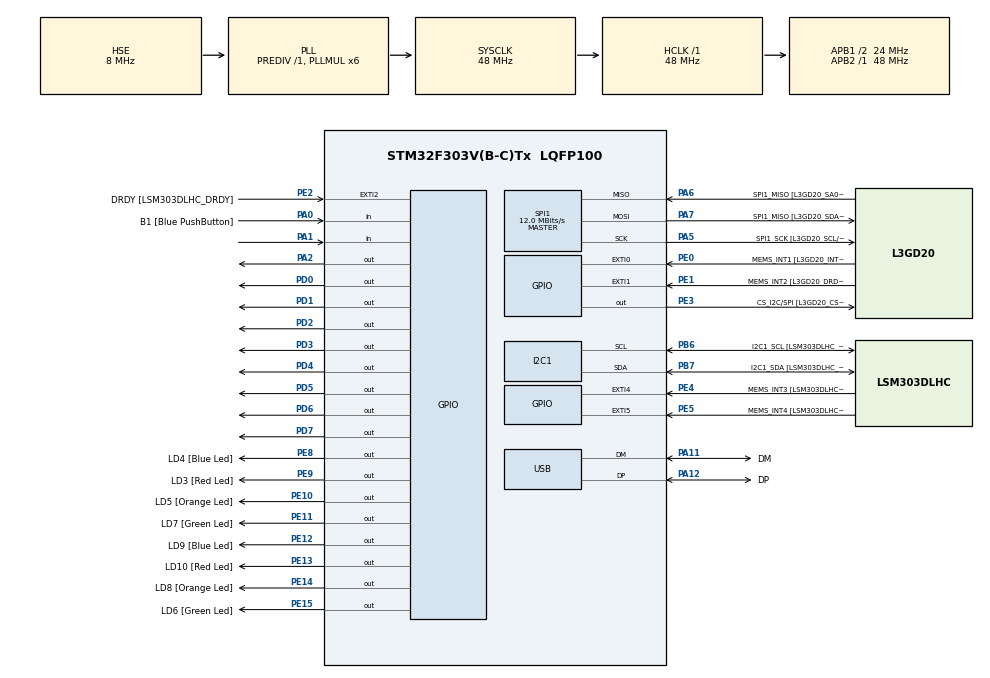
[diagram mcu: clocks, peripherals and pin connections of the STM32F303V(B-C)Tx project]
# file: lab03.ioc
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I2C1.Timing=0x2000090E
I2C1.Timing-I2C=0x2000090E
Mcu.Family=STM32F3
Mcu.Name=STM32F303V(B-C)Tx
Mcu.Package=LQFP100
NVIC.PriorityGroup=NVIC_PRIORITYGROUP_0
PA0.GPIO_Label=B1 [Blue PushButton]
PA0.Signal=GPIO_Input
PA1.GPIO_PuPd=GPIO_PULLDOWN
PA1.Signal=GPIO_Input
PA11.GPIO_Label=DM
PA11.Mode=Device
PA11.Signal=USB_DM
PA12.GPIO_Label=DP
PA12.Mode=Device
PA12.Signal=USB_DP
PA13.GPIO_Label=SWDIO
PA13.Mode=Serial_Wire
PA13.Signal=SYS_JTMS-SWDIO
PA14.GPIO_Label=SWCLK
PA14.Mode=Serial_Wire
PA14.Signal=SYS_JTCK-SWCLK
PA2.Signal=GPIO_Output
PA5.GPIO_Label=SPI1_SCK [L3GD20_SCL/SPC]
PA5.Mode=Full_Duplex_Master
PA5.Signal=SPI1_SCK
PA6.GPIO_Label=SPI1_MISO [L3GD20_SA0/SDO]
PA6.Mode=Full_Duplex_Master
PA6.Signal=SPI1_MISO
PA7.GPIO_Label=SPI1_MISO [L3GD20_SDA/SDI/SDO]
PA7.Mode=Full_Duplex_Master
PA7.Signal=SPI1_MOSI
PB3.GPIO_Label=SWO
PB3.Signal=SYS_JTDO-TRACESWO
PB6.GPIO_Label=I2C1_SCL [LSM303DLHC_SCL]
PB6.GPIO_Pu=GPIO_PULLUP
PB6.Mode=I2C
PB6.Signal=I2C1_SCL
PB7.GPIO_Label=I2C1_SDA [LSM303DLHC_SDA]
PB7.GPIO_Pu=GPIO_PULLUP
PB7.Mode=I2C
PB7.Signal=I2C1_SDA
PC14-OSC32_IN.GPIO_Label=OSC32_IN
PC14-OSC32_IN.Signal=RCC_OSC32_IN
PC15-OSC32_OUT.GPIO_Label=OSC32_OUT
PC15-OSC32_OUT.Signal=RCC_OSC32_OUT
PD0.Signal=GPIO_Output
PD1.Signal=GPIO_Output
PD2.Signal=GPIO_Output
PD3.Signal=GPIO_Output
PD4.Signal=GPIO_Output
PD5.Signal=GPIO_Output
PD6.Signal=GPIO_Output
PD7.Signal=GPIO_Output
PE0.GPIO_Label=MEMS_INT1 [L3GD20_INT1]
PE0.GPIO_ModeDefaultEXTI=GPIO_MODE_EVT_RISING
PE0.Signal=GPXTI0
PE1.GPIO_Label=MEMS_INT2 [L3GD20_DRDY/INT2]
PE1.GPIO_ModeDefaultEXTI=GPIO_MODE_EVT_RISING
PE1.Signal=GPXTI1
PE10.GPIO_Label=LD5 [Orange Led]
PE10.Signal=GPIO_Output
PE11.GPIO_Label=LD7 [Green Led]
PE11.Signal=GPIO_Output
PE12.GPIO_Label=LD9 [Blue Led]
PE12.Signal=GPIO_Output
PE13.GPIO_Label=LD10 [Red Led]
PE13.Signal=GPIO_Output
PE14.GPIO_Label=LD8 [Orange Led]
PE14.Signal=GPIO_Output
PE15.GPIO_Label=LD6 [Green Led]
PE15.Signal=GPIO_Output
PE2.GPIO_Label=DRDY [LSM303DLHC_DRDY]
PE2.GPIO_ModeDefaultEXTI=GPIO_MODE_EVT_RISING
PE2.Signal=GPXTI2
PE3.GPIO_Label=CS_I2C/SPI [L3GD20_CS_I2C/SPI]
PE3.Signal=GPIO_Output
PE4.GPIO_Label=MEMS_INT3 [LSM303DLHC_INT1]
PE4.GPIO_ModeDefaultEXTI=GPIO_MODE_EVT_RISING
PE4.Signal=GPXTI4
PE5.GPIO_Label=MEMS_INT4 [LSM303DLHC_INT2]
PE5.GPIO_ModeDefaultEXTI=GPIO_MODE_EVT_RISING
PE5.Signal=GPXTI5
PE8.GPIO_Label=LD4 [Blue Led]
PE8.Signal=GPIO_Output
PE9.GPIO_Label=LD3 [Red Led]
PE9.Signal=GPIO_Output
PF0-OSC_IN.GPIO_Label=OSC_IN
PF0-OSC_IN.Mode=HSE-External-Clock-Source
PF0-OSC_IN.Signal=RCC_OSC_IN
PF1-OSC_OUT.GPIO_Label=OSC_OUT
PF1-OSC_OUT.Signal=RCC_OSC_OUT
ProjectManager.HeapSize=0x200
ProjectManager.StackSize=0x400
ProjectManager.TargetToolchain=CMake
RCC.AHBFreq_Value=48000000
RCC.APB1CLKDivider=RCC_HCLK_DIV2
RCC.APB1Freq_Value=24000000
RCC.APB1TimFreq_Value=48000000
RCC.APB2Freq_Value=48000000
RCC.APB2TimFreq_Value=48000000
RCC.CortexFreq_Value=48000000
RCC.HCLKFreq_Value=48000000
RCC.HSE_VALUE=8000000
RCC.HSI_VALUE=8000000
RCC.LSE_VALUE=32768
RCC.PLLMUL=RCC_PLL_MUL6
RCC.SYSCLKFreq_VALUE=48000000
RCC.SYSCLKSourceVirtual=RCC_SYSCLKSOURCE_PLLCLK
RCC.USBFreq_Value=48000000
SPI1.BaudRatePrescaler=SPI_BAUDRATEPRESCALER_4
SPI1.BaudRatePrescaler-Full_Duplex_Master=SPI_BAUDRATEPRESCALER_2
SPI1.CalculateBaudRate=12.0 MBits/s
SPI1.CalculateBaudRate-Full_Duplex_Master=24.0 MBits/s
SPI1.Direction=SPI_DIRECTION_2LINES
SPI1.Mode=SPI_MODE_MASTER
SPI1.Mode-Full_Duplex_Master=SPI_MODE_MASTER
SPI1.VirtualType=VM_MASTER
board=STM32F3DISCOVERY

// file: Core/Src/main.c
/* USER CODE BEGIN Header */
/**
  ******************************************************************************
  * @file           : main.c
  * @brief          : Main program body
  ******************************************************************************
  * @attention
  *
  * Copyright (c) 2026 STMicroelectronics.
  * All rights reserved.
  *
  * This software is licensed under terms that can be found in the LICENSE file
  * in the root directory of this software component.
  * If no LICENSE file comes with this software, it is provided AS-IS.
  *
  ******************************************************************************
  */
/* USER CODE END Header */
#include "main.h"
#include "stdlib.h"

I2C_HandleTypeDef hi2c1;

SPI_HandleTypeDef hspi1;

PCD_HandleTypeDef hpcd_USB_FS;

void SystemClock_Config(void);
static void MX_GPIO_Init(void);
static void MX_I2C1_Init(void);
static void MX_SPI1_Init(void);
static void MX_USB_PCD_Init(void);

/* USER CODE BEGIN 0 */

// Task 1
void display_number(uint8_t num)
{
    // Hex patterns for common anode (0 = ON, 1 = OFF)
    const uint8_t hex_map[16] = {
        0b1000000, // 0
        0b1111001, // 1
        0b0100100, // 2
        0b0110000, // 3
        0b0011001, // 4
        0b0010010, // 5
        0b0000010, // 6
        0b1111000, // 7
        0b0000000, // 8
        0b0010000, // 9
        0b0001000, // A
        0b0000011, // b
        0b1000110, // C
        0b0100001, // d
        0b0000110, // E
        0b0001110  // F
    };

    uint8_t pattern = hex_map[num & 0x0F];
    for (int i = 0; i < 7; i++)
    {
        HAL_GPIO_WritePin(GPIOD, (1 << i), (pattern & (1 << i)) ? GPIO_PIN_SET : GPIO_PIN_RESET);
    }
}

/* USER CODE BEGIN PV */
// Task 2
uint8_t student_id[] = {1, 0, 5, 7, 5};
uint8_t id_index = 0;
uint8_t button_state = 0;
uint8_t last_button_state = 0;

// Task 3
uint8_t counter = 0;

uint8_t user_btn_state = 0;
uint8_t user_btn_last = 0;

uint8_t ext_btn_state = 0;
uint8_t ext_btn_last = 0;
/* USER CODE END PV */

/* USER CODE END 0 */

int main(void)
{

    /* MCU Configuration--------------------------------------------------------*/

    /* Reset of all peripherals, Initializes the Flash interface and the Systick. */
    HAL_Init();

    /* Configure the system clock */
    SystemClock_Config();

    /* Initialize all configured peripherals */
    MX_GPIO_Init();
    MX_I2C1_Init();
    MX_SPI1_Init();
    MX_USB_PCD_Init();

    /* Infinite loop */
    while (1)
    {

        /* USER CODE BEGIN 3 */

        // Task 1
        for (uint8_t i = 0; i < 16; i++){
            display_number(i);
            HAL_Delay(2000); // 2 seconds
        }

        // // Task 2
        button_state = HAL_GPIO_ReadPin(GPIOA, B1_Pin);

        if (button_state == GPIO_PIN_SET && last_button_state == GPIO_PIN_RESET)
        {
            HAL_Delay(50);

            if (HAL_GPIO_ReadPin(GPIOA, B1_Pin) == GPIO_PIN_SET)
            {
                display_number(student_id[id_index]);
                id_index++;

                if (id_index >= sizeof(student_id))
                {
                    id_index = 0;
                }
            }
        }

        // last_button_state = button_state;

        // Task 3
        user_btn_state = HAL_GPIO_ReadPin(GPIOA, GPIO_PIN_0);

        if (user_btn_state == GPIO_PIN_SET && user_btn_last == GPIO_PIN_RESET)
        {
            HAL_Delay(50);

            if (HAL_GPIO_ReadPin(GPIOA, GPIO_PIN_0) == GPIO_PIN_SET)
            {
                counter++;

                if (counter > 9)
                    counter = 0;

                display_number(counter);
            }
        }
        user_btn_last = user_btn_state;

        ext_btn_state = HAL_GPIO_ReadPin(GPIOA, GPIO_PIN_1);

        if (ext_btn_state == GPIO_PIN_SET && ext_btn_last == GPIO_PIN_RESET)
        {
            HAL_Delay(50);

            if (HAL_GPIO_ReadPin(GPIOA, GPIO_PIN_1) == GPIO_PIN_SET)
            {
                if (counter == 0)
                    counter = 9;
                else
                    counter--;

                display_number(counter);
            }
        }
        ext_btn_last = ext_btn_state;

        //Task 4
        for (uint8_t i = 0; i < 5; i++){
            int random_num = (rand() % 6) + 1;
            display_number(random_num);
            HAL_Delay(2000); // 2 seconds
        }

        /* USER CODE END WHILE */

    }
    /* USER CODE END 3 */
}

void SystemClock_Config(void)
{
    RCC_OscInitTypeDef RCC_OscInitStruct = {0};
    RCC_ClkInitTypeDef RCC_ClkInitStruct = {0};
    RCC_PeriphCLKInitTypeDef PeriphClkInit = {0};

    /** Initializes the RCC Oscillators according to the specified parameters
    * in the RCC_OscInitTypeDef structure.
    */
    RCC_OscInitStruct.OscillatorType = RCC_OSCILLATORTYPE_HSI|RCC_OSCILLATORTYPE_HSE;
    RCC_OscInitStruct.HSEState = RCC_HSE_BYPASS;
    RCC_OscInitStruct.HSEPredivValue = RCC_HSE_PREDIV_DIV1;
    RCC_OscInitStruct.HSIState = RCC_HSI_ON;
    RCC_OscInitStruct.HSICalibrationValue = RCC_HSICALIBRATION_DEFAULT;
    RCC_OscInitStruct.PLL.PLLState = RCC_PLL_ON;
    RCC_OscInitStruct.PLL.PLLSource = RCC_PLLSOURCE_HSE;
    RCC_OscInitStruct.PLL.PLLMUL = RCC_PLL_MUL6;
    if (HAL_RCC_OscConfig(&RCC_OscInitStruct) != HAL_OK)
    {
        Error_Handler();
    }

    /** Initializes the CPU, AHB and APB buses clocks
    */
    RCC_ClkInitStruct.ClockType = RCC_CLOCKTYPE_HCLK|RCC_CLOCKTYPE_SYSCLK
                                |RCC_CLOCKTYPE_PCLK1|RCC_CLOCKTYPE_PCLK2;
    RCC_ClkInitStruct.SYSCLKSource = RCC_SYSCLKSOURCE_PLLCLK;
    RCC_ClkInitStruct.AHBCLKDivider = RCC_SYSCLK_DIV1;
    RCC_ClkInitStruct.APB1CLKDivider = RCC_HCLK_DIV2;
    RCC_ClkInitStruct.APB2CLKDivider = RCC_HCLK_DIV1;

    if (HAL_RCC_ClockConfig(&RCC_ClkInitStruct, FLASH_LATENCY_1) != HAL_OK)
    {
        Error_Handler();
    }

    PeriphClkInit.PeriphClockSelection = RCC_PERIPHCLK_USB|RCC_PERIPHCLK_I2C1;
    PeriphClkInit.I2c1ClockSelection = RCC_I2C1CLKSOURCE_HSI;
    PeriphClkInit.USBClockSelection = RCC_USBCLKSOURCE_PLL;
    if (HAL_RCCEx_PeriphCLKConfig(&PeriphClkInit) != HAL_OK)
    {
        Error_Handler();
    }
}

static void MX_I2C1_Init(void)
{

    hi2c1.Instance = I2C1;
    hi2c1.Init.Timing = 0x2000090E;
    hi2c1.Init.OwnAddress1 = 0;
    hi2c1.Init.AddressingMode = I2C_ADDRESSINGMODE_7BIT;
    hi2c1.Init.DualAddressMode = I2C_DUALADDRESS_DISABLE;
    hi2c1.Init.OwnAddress2 = 0;
    hi2c1.Init.OwnAddress2Masks = I2C_OA2_NOMASK;
    hi2c1.Init.GeneralCallMode = I2C_GENERALCALL_DISABLE;
    hi2c1.Init.NoStretchMode = I2C_NOSTRETCH_DISABLE;
    if (HAL_I2C_Init(&hi2c1) != HAL_OK)
    {
        Error_Handler();
    }

    /** Configure Analogue filter
    */
    if (HAL_I2CEx_ConfigAnalogFilter(&hi2c1, I2C_ANALOGFILTER_ENABLE) != HAL_OK)
    {
        Error_Handler();
    }

    /** Configure Digital filter
    */
    if (HAL_I2CEx_ConfigDigitalFilter(&hi2c1, 0) != HAL_OK)
    {
        Error_Handler();
    }
}

static void MX_SPI1_Init(void)
{

    /* SPI1 parameter configuration*/
    hspi1.Instance = SPI1;
    hspi1.Init.Mode = SPI_MODE_MASTER;
    hspi1.Init.Direction = SPI_DIRECTION_2LINES;
    hspi1.Init.DataSize = SPI_DATASIZE_4BIT;
    hspi1.Init.CLKPolarity = SPI_POLARITY_LOW;
    hspi1.Init.CLKPhase = SPI_PHASE_1EDGE;
    hspi1.Init.NSS = SPI_NSS_SOFT;
    hspi1.Init.BaudRatePrescaler = SPI_BAUDRATEPRESCALER_4;
    hspi1.Init.FirstBit = SPI_FIRSTBIT_MSB;
    hspi1.Init.TIMode = SPI_TIMODE_DISABLE;
    hspi1.Init.CRCCalculation = SPI_CRCCALCULATION_DISABLE;
    hspi1.Init.CRCPolynomial = 7;
    hspi1.Init.CRCLength = SPI_CRC_LENGTH_DATASIZE;
    hspi1.Init.NSSPMode = SPI_NSS_PULSE_ENABLE;
    if (HAL_SPI_Init(&hspi1) != HAL_OK)
    {
        Error_Handler();
    }
}

static void MX_USB_PCD_Init(void)
{

    hpcd_USB_FS.Instance = USB;
    hpcd_USB_FS.Init.dev_endpoints = 8;
    hpcd_USB_FS.Init.speed = PCD_SPEED_FULL;
    hpcd_USB_FS.Init.phy_itface = PCD_PHY_EMBEDDED;
    hpcd_USB_FS.Init.low_power_enable = DISABLE;
    hpcd_USB_FS.Init.battery_charging_enable = DISABLE;
    if (HAL_PCD_Init(&hpcd_USB_FS) != HAL_OK)
    {
        Error_Handler();
    }
}

static void MX_GPIO_Init(void)
{
    GPIO_InitTypeDef GPIO_InitStruct = {0};

    /* GPIO Ports Clock Enable */
    __HAL_RCC_GPIOE_CLK_ENABLE();
    __HAL_RCC_GPIOC_CLK_ENABLE();
    __HAL_RCC_GPIOF_CLK_ENABLE();
    __HAL_RCC_GPIOA_CLK_ENABLE();
    __HAL_RCC_GPIOD_CLK_ENABLE();
    __HAL_RCC_GPIOB_CLK_ENABLE();

    /*Configure GPIO pin Output Level */
    HAL_GPIO_WritePin(GPIOE, CS_I2C_SPI_Pin|LD4_Pin|LD3_Pin|LD5_Pin
                           |LD7_Pin|LD9_Pin|LD10_Pin|LD8_Pin
                           |LD6_Pin, GPIO_PIN_RESET);

    /*Configure GPIO pin Output Level */
    HAL_GPIO_WritePin(GPIOA, GPIO_PIN_2, GPIO_PIN_RESET);

    /*Configure GPIO pin Output Level */
    HAL_GPIO_WritePin(GPIOD, GPIO_PIN_0|GPIO_PIN_1|GPIO_PIN_2|GPIO_PIN_3
                           |GPIO_PIN_4|GPIO_PIN_5|GPIO_PIN_6|GPIO_PIN_7, GPIO_PIN_RESET);

    /*Configure GPIO pins : DRDY_Pin MEMS_INT3_Pin MEMS_INT4_Pin MEMS_INT1_Pin
       MEMS_INT2_Pin */
    GPIO_InitStruct.Pin = DRDY_Pin|MEMS_INT3_Pin|MEMS_INT4_Pin|MEMS_INT1_Pin
                         |MEMS_INT2_Pin;
    GPIO_InitStruct.Mode = GPIO_MODE_EVT_RISING;
    GPIO_InitStruct.Pull = GPIO_NOPULL;
    HAL_GPIO_Init(GPIOE, &GPIO_InitStruct);

    /*Configure GPIO pins : CS_I2C_SPI_Pin LD4_Pin LD3_Pin LD5_Pin
       LD7_Pin LD9_Pin LD10_Pin LD8_Pin
       LD6_Pin */
    GPIO_InitStruct.Pin = CS_I2C_SPI_Pin|LD4_Pin|LD3_Pin|LD5_Pin
                         |LD7_Pin|LD9_Pin|LD10_Pin|LD8_Pin
                         |LD6_Pin;
    GPIO_InitStruct.Mode = GPIO_MODE_OUTPUT_PP;
    GPIO_InitStruct.Pull = GPIO_NOPULL;
    GPIO_InitStruct.Speed = GPIO_SPEED_FREQ_LOW;
    HAL_GPIO_Init(GPIOE, &GPIO_InitStruct);

    /*Configure GPIO pins : B1_Pin PA1 */
    GPIO_InitStruct.Pin = B1_Pin|GPIO_PIN_1;
    GPIO_InitStruct.Mode = GPIO_MODE_INPUT;
    GPIO_InitStruct.Pull = GPIO_NOPULL;
    HAL_GPIO_Init(GPIOA, &GPIO_InitStruct);

    /*Configure GPIO pin : PA2 */
    GPIO_InitStruct.Pin = GPIO_PIN_2;
    GPIO_InitStruct.Mode = GPIO_MODE_OUTPUT_PP;
    GPIO_InitStruct.Pull = GPIO_NOPULL;
    GPIO_InitStruct.Speed = GPIO_SPEED_FREQ_LOW;
    HAL_GPIO_Init(GPIOA, &GPIO_InitStruct);

    /*Configure GPIO pins : PD0 PD1 PD2 PD3
       PD4 PD5 PD6 PD7 */
    GPIO_InitStruct.Pin = GPIO_PIN_0|GPIO_PIN_1|GPIO_PIN_2|GPIO_PIN_3
                         |GPIO_PIN_4|GPIO_PIN_5|GPIO_PIN_6|GPIO_PIN_7;
    GPIO_InitStruct.Mode = GPIO_MODE_OUTPUT_PP;
    GPIO_InitStruct.Pull = GPIO_NOPULL;
    GPIO_InitStruct.Speed = GPIO_SPEED_FREQ_LOW;
    HAL_GPIO_Init(GPIOD, &GPIO_InitStruct);

}

void Error_Handler(void)
{
    __disable_irq();
    while (1)
    {
    }
}
